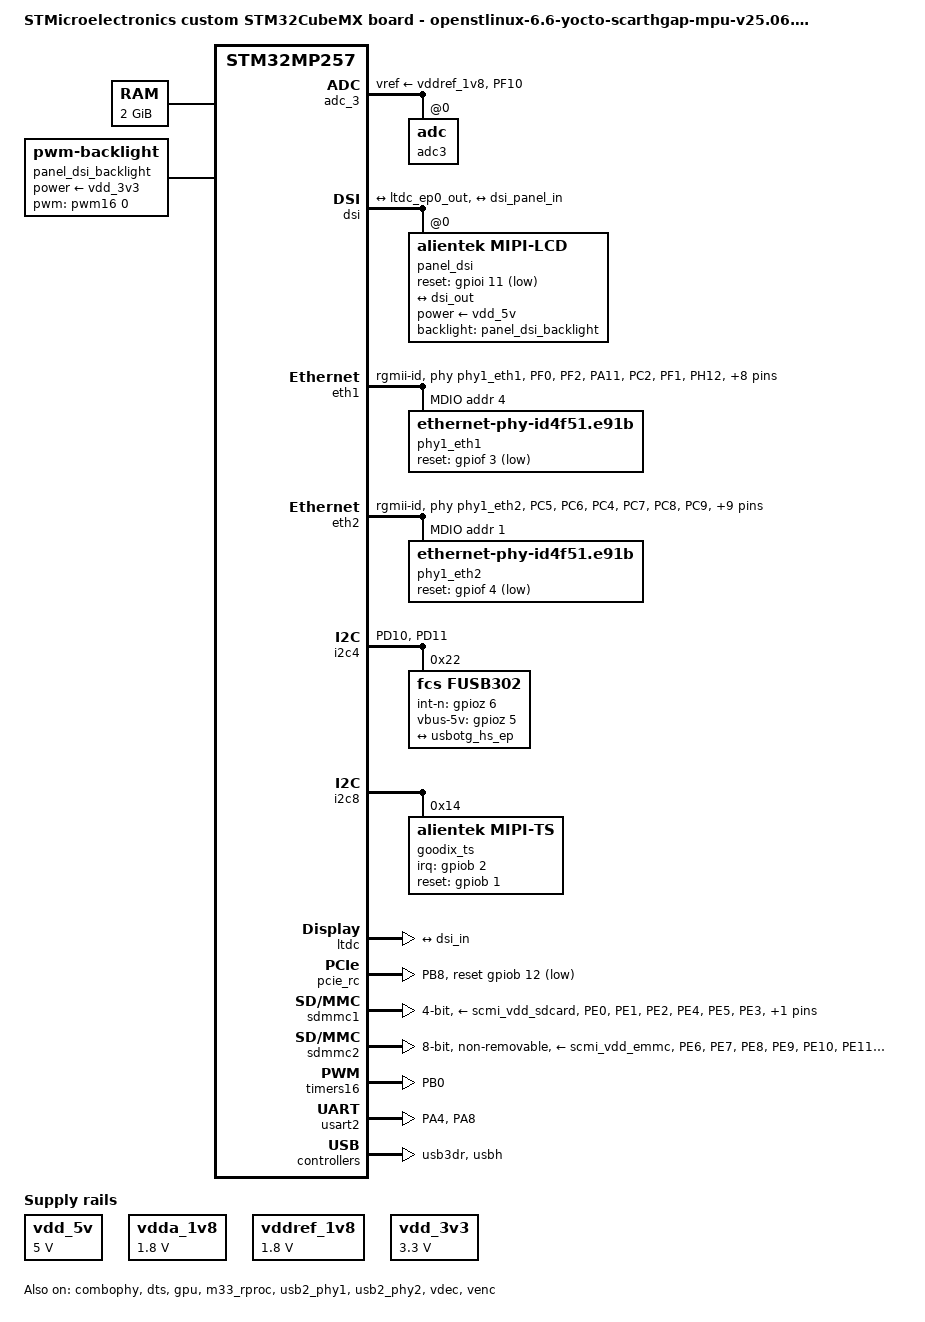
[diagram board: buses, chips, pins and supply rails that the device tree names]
// SPDX-License-Identifier: (GPL-2.0-only OR BSD-3-Clause)
/*
 * Copyright (C) 2026, STMicroelectronics - All Rights Reserved
 * Author: STM32CubeMX code generation for STMicroelectronics.
 */

/* For more information on Device Tree configuration, please refer to
 * https://wiki.st.com/stm32mpu/wiki/Category:Device_tree_configuration
 */

/dts-v1/;

#include <dt-bindings/pinctrl/stm32-pinfunc.h>
#include "stm32mp257.dtsi"
#include "stm32mp257d-stm32mp257dak3-mx-resmem.dtsi"
#include "stm32mp25xxak-pinctrl.dtsi"

/* USER CODE BEGIN includes */
#include <dt-bindings/gpio/gpio.h>
#include <dt-bindings/usb/pd.h>
#include "stm32mp25-pinctrl.dtsi"
/* USER CODE END includes */

/ {
	model = "STMicroelectronics custom STM32CubeMX board - openstlinux-6.6-yocto-scarthgap-mpu-v25.06.11";
	compatible = "st,stm32mp257d-stm32mp257dak3-mx", "st,stm32mp257";

	memory@80000000 {
		device_type = "memory";
		reg = <0x0 0x80000000 0x0 0x80000000>;

		/* USER CODE BEGIN memory */
		/* USER CODE END memory */
	};

	/* USER CODE BEGIN root */
	aliases{
		ethernet0 = &eth2;
		ethernet1 = &eth1;
		serial0 = &usart2;
	};
	
	chosen{
		stdout-path = "serial0:115200n8";
		#address-cells = <2>;
		#size-cells = <2>;
		ranges;
	};

	config_adc_mipi_dsi_lcd_id {
		st,adc_mipi_dsi_lcd_id = <&adc3 2>;
	};
	
/*
	dsi_lcd_id select id:
		atk_no_mipi = 1,
		atk_mipi_dsi_5x5_720x1280 = 2,
		atk_mipi_dsi_5x5_1080x1920 = 3,
		atk_mipi_dsi_10x1_800x1280 = 4,
*/
	dsi_lcd_id {
        dsi_select_id = <2>;
    };

	rgb_lcd_id_pinctrl {
		gpior = <&gpiog 7 	GPIO_ACTIVE_LOW>;	//LCD_R7
		gpiog = <&gpiog 13 	GPIO_ACTIVE_LOW>;	//LCD_G7
		gpiob = <&gpioi 4 	GPIO_ACTIVE_LOW>;	//LCD_B7
	};


        vdd_5v: regulator-vdd-5v {
                compatible = "regulator-fixed";
                regulator-name = "vdd_5v";
                regulator-min-microvolt = <5000000>;
                regulator-max-microvolt = <5000000>;
                regulator-always-on;
                regulator-boot-on;
        };
	
	vdda_1v8: regulator-vdda-1v8 {
			compatible = "regulator-fixed";
			regulator-name = "vdda_1v8";
			regulator-min-microvolt = <1800000>;
			regulator-max-microvolt = <1800000>;
			regulator-always-on;
			regulator-boot-on;
	};

	vddref_1v8: regulator-vddref-1v8 {
			compatible = "regulator-fixed";
			regulator-name = "vddref_1v8";
			regulator-min-microvolt = <1800000>;
			regulator-max-microvolt = <1800000>;
			regulator-always-on;
			regulator-boot-on;
	};
	
	vdd_3v3: regulator-vdd-3v3 {
		compatible = "regulator-fixed";
		regulator-name = "vdd_3v3";
		regulator-min-microvolt = <3300000>;
		regulator-max-microvolt = <3300000>;
		regulator-always-on;
		regulator-boot-on;
	};

	panel_dsi_backlight: panel-dsi-backlight {
        compatible = "pwm-backlight";
        pwms = <&pwm16 0 5000000 0>;
		brightness-levels = <
                     0   1   2   3   4   5   6   7	 8   9
					10  11  12  13  14  15  16  17  18  19
					20  21  22  23  24  25  26  27  28  29
					30  31  32  33  34  35  36  37  38  39
                    40  41  42  43  44  45  46  47  48  49
					50  51  52  53  54  55  56  57  58  59
					60  61  62  63  64  65  66  67  68  69
					70  71  72  73  74  75  76  77  78  79
                    80  81  82  83  84  85  86  87  88  89
					90  91  92  93  94  95  96  97  98  99
					100 101 102 103 104 105 106 107 108 109
					110 111 112 113 114 115 116 117 118 119
                    120 121 122 123 124 125 126 127 128 129
					130 131 132 133 134 135 136 137 138 139
					140 141 142 143 144 145 146 147 148 149
					150 151 152 153 154 155 156 157 158 159
                    160 161 162 163 164 165 166 167 168 169
					170 171 172 173 174 175 176 177 178 179
					180 181 182 183 184 185 186 187 188 189
					190 191 192 193 194 195 196 197 198 199
                    200 201 202 203 204 205 206 207 208 209
					210 211 212 213 214 215 216 217 218 219
					220 221 222 223 224 225 226 227 228 229
					230 231 232 233 234 235 236 237 238 239
                    240 241 242 243 244 245 246 247 248 249
					250 251 252 253 254 255>;
        power-supply = <&vdd_3v3>;
        default-brightness-level = <255>;
        status = "okay";
	};
	/* USER CODE END root */

	clocks{

		/* USER CODE BEGIN clocks */
		pad_clk: pad-clk {
			#clock-cells = <0>;
			compatible = "fixed-clock";
			clock-frequency = <100000000>;
		};
		/* USER CODE END clocks */
	};

}; /*root*/

&pinctrl {

	adc3_pins_mx: adc3_mx-0 {
		pins {
			pinmux = <STM32_PINMUX('F', 10, ANALOG)>; /* ADC3_INP2 */
		};
	};

	adc3_sleep_pins_mx: adc3_sleep_mx-0 {
		pins {
			pinmux = <STM32_PINMUX('F', 10, ANALOG)>; /* ADC3_INP2 */
		};
	};

	eth1_mdio_pins_mx: eth1_mdio_mx-0 {
		pins1 {
			pinmux = <STM32_PINMUX('F', 0, AF10)>; /* ETH1_MDC */
			bias-disable;
			drive-push-pull;
			slew-rate = <2>;
			st,io-clk-edge = <0>;
			st,io-retime = <0>;
			st,io-delay-path = <0>;
			st,io-delay = <0>;
		};
		pins2 {
			pinmux = <STM32_PINMUX('F', 2, AF10)>; /* ETH1_MDIO */
			bias-disable;
			drive-push-pull;
			slew-rate = <0>;
			st,io-clk-edge = <0>;
			st,io-retime = <0>;
			st,io-delay-path = <0>;
			st,io-delay = <0>;
		};
	};

	eth1_mdio_sleep_pins_mx: eth1_mdio_sleep_mx-0 {
		pins {
			pinmux = <STM32_PINMUX('F', 0, ANALOG)>, /* ETH1_MDC */
					 <STM32_PINMUX('F', 2, ANALOG)>; /* ETH1_MDIO */
		};
	};

	eth1_rgmii_pins_mx: eth1_rgmii_mx-0 {
		pins1 {
			pinmux = <STM32_PINMUX('A', 11, AF10)>, /* ETH1_RGMII_RX_CTL */
					 <STM32_PINMUX('C', 2, AF10)>, /* ETH1_RGMII_RXD1 */
					 <STM32_PINMUX('F', 1, AF10)>, /* ETH1_RGMII_RXD0 */
					 <STM32_PINMUX('H', 12, AF10)>, /* ETH1_RGMII_RXD2 */
					 <STM32_PINMUX('H', 13, AF10)>; /* ETH1_RGMII_RXD3 */
			bias-disable;
			drive-push-pull;
			st,io-clk-edge = <1>;
			st,io-retime = <1>;
			st,io-delay-path = <0>;
			st,io-delay = <0>;
		};
		pins2 {
			pinmux = <STM32_PINMUX('A', 13, AF10)>, /* ETH1_RGMII_TX_CTL */
					 <STM32_PINMUX('A', 15, AF10)>, /* ETH1_RGMII_TXD0 */
					 <STM32_PINMUX('C', 1, AF10)>, /* ETH1_RGMII_TXD1 */
					 <STM32_PINMUX('H', 10, AF10)>, /* ETH1_RGMII_TXD2 */
					 <STM32_PINMUX('H', 11, AF10)>; /* ETH1_RGMII_TXD3 */
			bias-disable;
			drive-push-pull;
			slew-rate = <2>;
			st,io-clk-edge = <1>;
			st,io-retime = <1>;
			st,io-delay-path = <0>;
			st,io-delay = <0>;
		};
		pins3 {
			pinmux = <STM32_PINMUX('A', 14, AF10)>; /* ETH1_RGMII_RX_CLK */
			bias-disable;
			drive-push-pull;
			slew-rate = <0>;
			st,io-clk-edge = <0>;
			st,io-retime = <0>;
			st,io-delay-path = <0>;
			st,io-delay = <0>;
		};
		pins4 {
			pinmux = <STM32_PINMUX('C', 0, AF12)>; /* ETH1_RGMII_GTX_CLK */
			bias-disable;
			drive-push-pull;
			slew-rate = <1>;
			st,io-clk-edge = <0>;
			st,io-retime = <0>;
			st,io-delay-path = <0>;
			st,io-delay = <0>;
		};
	};

	eth1_rgmii_sleep_pins_mx: eth1_rgmii_sleep_mx-0 {
		pins {
			pinmux = <STM32_PINMUX('A', 11, ANALOG)>, /* ETH1_RGMII_RX_CTL */
					 <STM32_PINMUX('A', 13, ANALOG)>, /* ETH1_RGMII_TX_CTL */
					 <STM32_PINMUX('A', 14, ANALOG)>, /* ETH1_RGMII_RX_CLK */
					 <STM32_PINMUX('A', 15, ANALOG)>, /* ETH1_RGMII_TXD0 */
					 <STM32_PINMUX('C', 0, ANALOG)>, /* ETH1_RGMII_GTX_CLK */
					 <STM32_PINMUX('C', 1, ANALOG)>, /* ETH1_RGMII_TXD1 */
					 <STM32_PINMUX('C', 2, ANALOG)>, /* ETH1_RGMII_RXD1 */
					 <STM32_PINMUX('F', 1, ANALOG)>, /* ETH1_RGMII_RXD0 */
					 <STM32_PINMUX('H', 10, ANALOG)>, /* ETH1_RGMII_TXD2 */
					 <STM32_PINMUX('H', 11, ANALOG)>, /* ETH1_RGMII_TXD3 */
					 <STM32_PINMUX('H', 12, ANALOG)>, /* ETH1_RGMII_RXD2 */
					 <STM32_PINMUX('H', 13, ANALOG)>; /* ETH1_RGMII_RXD3 */
		};
	};

	eth2_mdio_pins_mx: eth2_mdio_mx-0 {
		pins1 {
			pinmux = <STM32_PINMUX('C', 5, AF10)>; /* ETH2_MDIO */
			bias-disable;
			drive-push-pull;
			slew-rate = <0>;
			st,io-clk-edge = <0>;
			st,io-retime = <0>;
			st,io-delay-path = <0>;
			st,io-delay = <0>;
		};
		pins2 {
			pinmux = <STM32_PINMUX('C', 6, AF10)>; /* ETH2_MDC */
			bias-disable;
			drive-push-pull;
			slew-rate = <2>;
			st,io-clk-edge = <0>;
			st,io-retime = <0>;
			st,io-delay-path = <0>;
			st,io-delay = <0>;
		};
	};

	eth2_mdio_sleep_pins_mx: eth2_mdio_sleep_mx-0 {
		pins {
			pinmux = <STM32_PINMUX('C', 5, ANALOG)>, /* ETH2_MDIO */
					 <STM32_PINMUX('C', 6, ANALOG)>; /* ETH2_MDC */
		};
	};

	eth2_rgmii_pins_mx: eth2_rgmii_mx-0 {
		pins1 {
			pinmux = <STM32_PINMUX('C', 4, AF10)>, /* ETH2_RGMII_TX_CTL */
					 <STM32_PINMUX('C', 7, AF10)>, /* ETH2_RGMII_TXD0 */
					 <STM32_PINMUX('C', 8, AF10)>, /* ETH2_RGMII_TXD1 */
					 <STM32_PINMUX('C', 9, AF10)>, /* ETH2_RGMII_TXD2 */
					 <STM32_PINMUX('C', 10, AF10)>; /* ETH2_RGMII_TXD3 */
			bias-disable;
			drive-push-pull;
			slew-rate = <2>;
			st,io-clk-edge = <1>;
			st,io-retime = <1>;
			st,io-delay-path = <0>;
			st,io-delay = <0>;
		};
		pins2 {
			pinmux = <STM32_PINMUX('C', 3, AF10)>, /* ETH2_RGMII_RX_CTL */
					 <STM32_PINMUX('C', 11, AF10)>, /* ETH2_RGMII_RXD3 */
					 <STM32_PINMUX('C', 12, AF10)>, /* ETH2_RGMII_RXD1 */
					 <STM32_PINMUX('F', 9, AF10)>, /* ETH2_RGMII_RXD2 */
					 <STM32_PINMUX('G', 0, AF10)>; /* ETH2_RGMII_RXD0 */
			bias-disable;
			drive-push-pull;
			st,io-clk-edge = <1>;
			st,io-retime = <1>;
			st,io-delay-path = <0>;
			st,io-delay = <0>;
		};
		pins3 {
			pinmux = <STM32_PINMUX('F', 6, AF10)>; /* ETH2_RGMII_RX_CLK */
			bias-disable;
			drive-push-pull;
			slew-rate = <0>;
			st,io-clk-edge = <0>;
			st,io-retime = <0>;
			st,io-delay-path = <0>;
			st,io-delay = <0>;
		};
		pins4 {
			pinmux = <STM32_PINMUX('F', 7, AF10)>; /* ETH2_RGMII_GTX_CLK */
			bias-disable;
			drive-push-pull;
			slew-rate = <1>;
			st,io-clk-edge = <0>;
			st,io-retime = <0>;
			st,io-delay-path = <0>;
			st,io-delay = <0>;
		};
		pins5 {
			pinmux = <STM32_PINMUX('F', 8, AF10)>; /* ETH2_RGMII_CLK125 */
			bias-disable;
			drive-push-pull;
			slew-rate = <2>;
		};
	};

	eth2_rgmii_sleep_pins_mx: eth2_rgmii_sleep_mx-0 {
		pins {
			pinmux = <STM32_PINMUX('C', 3, ANALOG)>, /* ETH2_RGMII_RX_CTL */
					 <STM32_PINMUX('C', 4, ANALOG)>, /* ETH2_RGMII_TX_CTL */
					 <STM32_PINMUX('C', 7, ANALOG)>, /* ETH2_RGMII_TXD0 */
					 <STM32_PINMUX('C', 8, ANALOG)>, /* ETH2_RGMII_TXD1 */
					 <STM32_PINMUX('C', 9, ANALOG)>, /* ETH2_RGMII_TXD2 */
					 <STM32_PINMUX('C', 10, ANALOG)>, /* ETH2_RGMII_TXD3 */
					 <STM32_PINMUX('C', 11, ANALOG)>, /* ETH2_RGMII_RXD3 */
					 <STM32_PINMUX('C', 12, ANALOG)>, /* ETH2_RGMII_RXD1 */
					 <STM32_PINMUX('F', 6, ANALOG)>, /* ETH2_RGMII_RX_CLK */
					 <STM32_PINMUX('F', 7, ANALOG)>, /* ETH2_RGMII_GTX_CLK */
					 <STM32_PINMUX('F', 8, ANALOG)>, /* ETH2_RGMII_CLK125 */
					 <STM32_PINMUX('F', 9, ANALOG)>, /* ETH2_RGMII_RXD2 */
					 <STM32_PINMUX('G', 0, ANALOG)>; /* ETH2_RGMII_RXD0 */
		};
	};

	i2c4_pins_mx: i2c4_mx-0 {
		pins {
			pinmux = <STM32_PINMUX('D', 10, AF6)>, /* I2C4_SDA */
					 <STM32_PINMUX('D', 11, AF6)>; /* I2C4_SCL */
			bias-disable;
			drive-open-drain;
			slew-rate = <0>;
		};
	};

	i2c4_sleep_pins_mx: i2c4_sleep_mx-0 {
		pins {
			pinmux = <STM32_PINMUX('D', 10, ANALOG)>, /* I2C4_SDA */
					 <STM32_PINMUX('D', 11, ANALOG)>; /* I2C4_SCL */
		};
	};

	pcie_pins_mx: pcie_mx-0 {
		pins {
			pinmux = <STM32_PINMUX('B', 8, AF4)>; /* PCIE_CLKREQN */
			bias-disable;
			drive-push-pull;
			slew-rate = <0>;
		};
	};

	pcie_init_pins_mx: pcie_init_mx-0 {
		pins {
			pinmux = <STM32_PINMUX('B', 8, ANALOG)>; /* PCIE_CLKREQN */
		};
	};

	pcie_sleep_pins_mx: pcie_sleep_mx-0 {
		pins {
			pinmux = <STM32_PINMUX('B', 8, ANALOG)>; /* PCIE_CLKREQN */
		};
	};

	sdmmc1_pins_mx: sdmmc1_mx-0 {
		pins1 {
			pinmux = <STM32_PINMUX('E', 0, AF10)>, /* SDMMC1_D2 */
					 <STM32_PINMUX('E', 1, AF10)>, /* SDMMC1_D3 */
					 <STM32_PINMUX('E', 2, AF10)>, /* SDMMC1_CMD */
					 <STM32_PINMUX('E', 4, AF10)>, /* SDMMC1_D0 */
					 <STM32_PINMUX('E', 5, AF10)>; /* SDMMC1_D1 */
			bias-disable;
			drive-push-pull;
			slew-rate = <1>;
		};
		pins2 {
			pinmux = <STM32_PINMUX('E', 3, AF10)>; /* SDMMC1_CK */
			bias-disable;
			drive-push-pull;
			slew-rate = <3>;
		};
	};

	sdmmc1_opendrain_pins_mx: sdmmc1_opendrain_mx-0 {
		pins1 {
			pinmux = <STM32_PINMUX('E', 0, AF10)>, /* SDMMC1_D2 */
					 <STM32_PINMUX('E', 1, AF10)>, /* SDMMC1_D3 */
					 <STM32_PINMUX('E', 4, AF10)>, /* SDMMC1_D0 */
					 <STM32_PINMUX('E', 5, AF10)>; /* SDMMC1_D1 */
			bias-disable;
			drive-push-pull;
			slew-rate = <1>;
		};
		pins2 {
			pinmux = <STM32_PINMUX('E', 2, AF10)>; /* SDMMC1_CMD */
			bias-disable;
			drive-open-drain;
			slew-rate = <1>;
		};
		pins3 {
			pinmux = <STM32_PINMUX('E', 3, AF10)>; /* SDMMC1_CK */
			bias-disable;
			drive-push-pull;
			slew-rate = <3>;
		};
	};

	sdmmc1_sleep_pins_mx: sdmmc1_sleep_mx-0 {
		pins {
			pinmux = <STM32_PINMUX('E', 0, ANALOG)>, /* SDMMC1_D2 */
					 <STM32_PINMUX('E', 1, ANALOG)>, /* SDMMC1_D3 */
					 <STM32_PINMUX('E', 2, ANALOG)>, /* SDMMC1_CMD */
					 <STM32_PINMUX('E', 3, ANALOG)>, /* SDMMC1_CK */
					 <STM32_PINMUX('E', 4, ANALOG)>, /* SDMMC1_D0 */
					 <STM32_PINMUX('E', 5, ANALOG)>; /* SDMMC1_D1 */
		};
	};

	sdmmc2_pins_mx: sdmmc2_mx-0 {
		pins1 {
			pinmux = <STM32_PINMUX('E', 6, AF12)>, /* SDMMC2_D6 */
					 <STM32_PINMUX('E', 7, AF12)>, /* SDMMC2_D7 */
					 <STM32_PINMUX('E', 8, AF12)>, /* SDMMC2_D2 */
					 <STM32_PINMUX('E', 9, AF12)>, /* SDMMC2_D5 */
					 <STM32_PINMUX('E', 10, AF12)>, /* SDMMC2_D4 */
					 <STM32_PINMUX('E', 11, AF12)>, /* SDMMC2_D1 */
					 <STM32_PINMUX('E', 12, AF12)>, /* SDMMC2_D3 */
					 <STM32_PINMUX('E', 13, AF12)>, /* SDMMC2_D0 */
					 <STM32_PINMUX('E', 15, AF12)>; /* SDMMC2_CMD */
			bias-disable;
			drive-push-pull;
			slew-rate = <1>;
		};
		pins2 {
			pinmux = <STM32_PINMUX('E', 14, AF12)>; /* SDMMC2_CK */
			bias-disable;
			drive-push-pull;
			slew-rate = <3>;
		};
	};

	sdmmc2_opendrain_pins_mx: sdmmc2_opendrain_mx-0 {
		pins1 {
			pinmux = <STM32_PINMUX('E', 6, AF12)>, /* SDMMC2_D6 */
					 <STM32_PINMUX('E', 7, AF12)>, /* SDMMC2_D7 */
					 <STM32_PINMUX('E', 8, AF12)>, /* SDMMC2_D2 */
					 <STM32_PINMUX('E', 9, AF12)>, /* SDMMC2_D5 */
					 <STM32_PINMUX('E', 10, AF12)>, /* SDMMC2_D4 */
					 <STM32_PINMUX('E', 11, AF12)>, /* SDMMC2_D1 */
					 <STM32_PINMUX('E', 12, AF12)>, /* SDMMC2_D3 */
					 <STM32_PINMUX('E', 13, AF12)>; /* SDMMC2_D0 */
			bias-disable;
			drive-push-pull;
			slew-rate = <1>;
		};
		pins2 {
			pinmux = <STM32_PINMUX('E', 14, AF12)>; /* SDMMC2_CK */
			bias-disable;
			drive-push-pull;
			slew-rate = <3>;
		};
		pins3 {
			pinmux = <STM32_PINMUX('E', 15, AF12)>; /* SDMMC2_CMD */
			bias-disable;
			drive-open-drain;
			slew-rate = <1>;
		};
	};

	sdmmc2_sleep_pins_mx: sdmmc2_sleep_mx-0 {
		pins {
			pinmux = <STM32_PINMUX('E', 6, ANALOG)>, /* SDMMC2_D6 */
					 <STM32_PINMUX('E', 7, ANALOG)>, /* SDMMC2_D7 */
					 <STM32_PINMUX('E', 8, ANALOG)>, /* SDMMC2_D2 */
					 <STM32_PINMUX('E', 9, ANALOG)>, /* SDMMC2_D5 */
					 <STM32_PINMUX('E', 10, ANALOG)>, /* SDMMC2_D4 */
					 <STM32_PINMUX('E', 11, ANALOG)>, /* SDMMC2_D1 */
					 <STM32_PINMUX('E', 12, ANALOG)>, /* SDMMC2_D3 */
					 <STM32_PINMUX('E', 13, ANALOG)>, /* SDMMC2_D0 */
					 <STM32_PINMUX('E', 14, ANALOG)>, /* SDMMC2_CK */
					 <STM32_PINMUX('E', 15, ANALOG)>; /* SDMMC2_CMD */
		};
	};

	tim16_pwm_pins_mx: tim16_pwm_mx-0 {
		pins {
			pinmux = <STM32_PINMUX('B', 0, AF7)>; /* TIM16_CH1 */
			bias-disable;
			drive-push-pull;
			slew-rate = <0>;
		};
	};

	tim16_pwm_sleep_pins_mx: tim16_pwm_sleep_mx-0 {
		pins {
			pinmux = <STM32_PINMUX('B', 0, ANALOG)>; /* TIM16_CH1 */
		};
	};

	usart2_pins_mx: usart2_mx-0 {
		pins1 {
			pinmux = <STM32_PINMUX('A', 4, AF6)>; /* USART2_TX */
			bias-disable;
			drive-push-pull;
			slew-rate = <0>;
		};
		pins2 {
			pinmux = <STM32_PINMUX('A', 8, AF8)>; /* USART2_RX */
			bias-disable;
			drive-push-pull;
		};
	};

	usart2_idle_pins_mx: usart2_idle_mx-0 {
		pins1 {
			pinmux = <STM32_PINMUX('A', 4, ANALOG)>; /* USART2_TX */
		};
		pins2 {
			pinmux = <STM32_PINMUX('A', 8, AF8)>; /* USART2_RX */
			bias-disable;
			drive-push-pull;
		};
	};

	usart2_sleep_pins_mx: usart2_sleep_mx-0 {
		pins {
			pinmux = <STM32_PINMUX('A', 4, ANALOG)>, /* USART2_TX */
					 <STM32_PINMUX('A', 8, ANALOG)>; /* USART2_RX */
		};
	};

	/* USER CODE BEGIN pinctrl */
	/* USER CODE END pinctrl */
};

&pinctrl_z {

	i2c8_pins_z_mx: i2c8_mx-0 {
		pins {
			pinmux = <STM32_PINMUX('Z', 4, AF8)>, /* I2C8_SCL */
					 <STM32_PINMUX('Z', 9, AF8)>; /* I2C8_SDA */
			bias-disable;
			drive-open-drain;
			slew-rate = <0>;
		};
	};

	i2c8_sleep_pins_z_mx: i2c8_sleep_mx-0 {
		pins {
			pinmux = <STM32_PINMUX('Z', 4, ANALOG)>, /* I2C8_SCL */
					 <STM32_PINMUX('Z', 9, ANALOG)>; /* I2C8_SDA */
		};
	};

	/* USER CODE BEGIN pinctrl_z */
	/* USER CODE END pinctrl_z */
};

&adc_3 {
	pinctrl-names = "default", "sleep";
	pinctrl-0 = <&adc3_pins_mx>;
	pinctrl-1 = <&adc3_sleep_pins_mx>;
	status = "okay";

	/* USER CODE BEGIN adc_3 */
	vdda-supply = <&vdda_1v8>;
	vref-supply = <&vddref_1v8>;

	adc3: adc@0 {
		#address-cells = <1>;
		#size-cells = <0>;
		status = "okay";

		channel@2 {
			reg = <2>;               			/* ADC3 in2 channel is used */
			st,min-sample-time-ns = <10000>;  	/* 10us sampling time */
		};
	};
	/* USER CODE END adc_3 */
};

&combophy {
	status = "okay";

	/* USER CODE BEGIN combophy */
	clocks = <&rcc CK_BUS_USB3PCIEPHY>, <&rcc CK_KER_USB3PCIEPHY>, <&pad_clk>;
	clock-names = "apb-clk", "ker-clk", "pad-clk";
	st,rx_equalizer = <1>;
	/* USER CODE END combophy */
};

&dsi {
	status = "okay";

	/* USER CODE BEGIN dsi */
	vdd-supply = <&scmi_vddcore>;
	vdda18-supply = <&scmi_v1v8>;
	#address-cells = <1>;
	#size-cells = <0>;

	ports {
		#address-cells = <1>;
		#size-cells = <0>;

		port@0 {
			reg = <0>;
			dsi_in: endpoint {
			};
		};

		port@1 {
			reg = <1>;
			dsi_out: endpoint {
			};
		};
	};

	panel_dsi: panel@0 {
		compatible = "alientek,mipi-lcd";
		reg = <0>;
		dsi-lanes = <4>;
		reset-gpio = <&gpioi 11 GPIO_ACTIVE_LOW>;
		power-supply = <&vdd_5v>;
		backlight = <&panel_dsi_backlight>;
		status = "okay";

		port {
			dsi_panel_in: endpoint {
				remote-endpoint = <&dsi_out>;
			};
		};
	};
	/* USER CODE END dsi */
};

&dts {
	status = "okay";

	/* USER CODE BEGIN dts */
	/* USER CODE END dts */
};

&eth1 {
	pinctrl-names = "default", "sleep";
	pinctrl-0 = <&eth1_mdio_pins_mx>, <&eth1_rgmii_pins_mx>;
	pinctrl-1 = <&eth1_mdio_sleep_pins_mx>, <&eth1_rgmii_sleep_pins_mx>;
	status = "okay";

	/* USER CODE BEGIN eth1 */
	phy-mode = "rgmii-id";
	phy-handle = <&phy1_eth1>;
	st,eth-clk-sel;

	mdio1 {
		#address-cells = <1>;
		#size-cells = <0>;
		compatible = "snps,dwmac-mdio";
		phy1_eth1: ethernet-phy@4 {
 			compatible = "ethernet-phy-id4f51.e91b";
			reset-gpios =  <&gpiof 3 GPIO_ACTIVE_LOW>;
			reset-assert-us = <10000>;
			reset-deassert-us = <80000>;
			realtek,eee-disable;
			reg = <4>;
		};
	};
	/* USER CODE END eth1 */
};

&eth2 {
	pinctrl-names = "default", "sleep";
	pinctrl-0 = <&eth2_mdio_pins_mx>, <&eth2_rgmii_pins_mx>;
	pinctrl-1 = <&eth2_mdio_sleep_pins_mx>, <&eth2_rgmii_sleep_pins_mx>;
	status = "okay";

	/* USER CODE BEGIN eth2 */
	phy-mode = "rgmii-id";
	max-speed = <1000>;
	phy-handle = <&phy1_eth2>;
	st,eth-ptp-from-rcc;

	mdio1 {
		#address-cells = <1>;
		#size-cells = <0>;
		compatible = "snps,dwmac-mdio";
		phy1_eth2: ethernet-phy@1 {
			compatible = "ethernet-phy-id4f51.e91b";
			reset-gpios =  <&gpiof 4 GPIO_ACTIVE_LOW>;
			reset-assert-us = <10000>;
			reset-deassert-us = <80000>;
			realtek,eee-disable;
			reg = <1>;
		};
	};
	/* USER CODE END eth2 */
};

&gpu {
	status = "okay";

	/* USER CODE BEGIN gpu */
	/* USER CODE END gpu */
};

&hpdma {
	status = "okay";

	/* USER CODE BEGIN hpdma */
	/* USER CODE END hpdma */
};

&hpdma2 {
	status = "okay";

	/* USER CODE BEGIN hpdma2 */
	/* USER CODE END hpdma2 */
};

&hpdma3 {
	status = "okay";

	/* USER CODE BEGIN hpdma3 */
	/* USER CODE END hpdma3 */
};

&i2c4 {
	pinctrl-names = "default", "sleep";
	pinctrl-0 = <&i2c4_pins_mx>;
	pinctrl-1 = <&i2c4_sleep_pins_mx>;
	status = "okay";

	/* USER CODE BEGIN i2c4 */
	/delete-property/dmas;
	/delete-property/dma-names;

	fusb302@22 {
		compatible = "fcs,fusb302","fairchild,fusb302";
		reg = <0x22>;
		int-n-gpios = <&gpioz 6 GPIO_ACTIVE_HIGH>;
		vbus-5v-gpios = <&gpioz 5 GPIO_ACTIVE_HIGH>;
		status = "okay";

		connector {
			compatible = "usb-c-connector";
			label = "USB-C";
			power-role = "dual";
			power-opmode = "default";
			try-power-role = "sink";
			source-pdos = <PDO_FIXED(5000, 3000, PDO_FIXED_USB_COMM)>;
			sink-pdos = <PDO_FIXED(5000, 3000, PDO_FIXED_USB_COMM)
			PDO_VAR(3000, 12000, 3000)
			PDO_PPS_APDO(3000, 11000, 3000)>;
			op-sink-microwatt = <10000000>;
			
			port {
				con_usbotg_hs_ep: endpoint {
				remote-endpoint = <&usbotg_hs_ep>;
				};
			};
		};
	};
	/* USER CODE END i2c4 */
};

&i2c8 {
	pinctrl-names = "default", "sleep";
	pinctrl-0 = <&i2c8_pins_z_mx>;
	pinctrl-1 = <&i2c8_sleep_pins_z_mx>;
	status = "okay";

	/* USER CODE BEGIN i2c8 */
	/delete-property/dmas;
	/delete-property/dma-names;	

    	goodix_ts@14 {
		compatible = "alientek,mipi-ts";
		reg = <0x14>;
		interrupt-parent = <&gpiob>;
		interrupts = <2 IRQ_TYPE_EDGE_RISING>;
		irq-gpios = <&gpiob 2 GPIO_ACTIVE_HIGH>;
		reset-gpios = <&gpiob 1 GPIO_ACTIVE_HIGH>;
		status = "okay";
	};
	/* USER CODE END i2c8 */
};

&ltdc {
	status = "okay";

	/* USER CODE BEGIN ltdc */
	rotation-memory = <&ltdc_sec_rotation>;

	port {
		#address-cells = <1>;
		#size-cells = <0>;

		ltdc_ep0_out: endpoint@0 {
			reg = <0>;
			remote-endpoint = <&dsi_in>;
		};
	};
	/* USER CODE END ltdc */
};

&m33_rproc {
	status = "okay";

	/* USER CODE BEGIN m33_rproc */
	/* USER CODE END m33_rproc */
};

&pcie_rc {
	pinctrl-names = "default", "init", "sleep";
	pinctrl-0 = <&pcie_pins_mx>;
	pinctrl-1 = <&pcie_init_pins_mx>;
	pinctrl-2 = <&pcie_sleep_pins_mx>;
	status = "okay";

	/* USER CODE BEGIN pcie_rc */
	reset-gpios = <&gpiob 12 GPIO_ACTIVE_LOW>;
	/* USER CODE END pcie_rc */
};

&sdmmc1 {
	pinctrl-names = "default", "opendrain", "sleep";
	pinctrl-0 = <&sdmmc1_pins_mx>;
	pinctrl-1 = <&sdmmc1_opendrain_pins_mx>;
	pinctrl-2 = <&sdmmc1_sleep_pins_mx>;
	status = "okay";

	/* USER CODE BEGIN sdmmc1 */
	cd-gpios = <&gpioi 8 (GPIO_ACTIVE_LOW | GPIO_PULL_UP)>;
	disable-wp;
	st,neg-edge;
	bus-width = <4>;
	vmmc-supply = <&scmi_vdd_sdcard>;
	vqmmc-supply = <&scmi_vddio1>;
	sd-uhs-sdr12;
	sd-uhs-sdr25;
	sd-uhs-sdr50;
	sd-uhs-ddr50;
	/* USER CODE END sdmmc1 */
};

&sdmmc2 {
	pinctrl-names = "default", "opendrain", "sleep";
	pinctrl-0 = <&sdmmc2_pins_mx>;
	pinctrl-1 = <&sdmmc2_opendrain_pins_mx>;
	pinctrl-2 = <&sdmmc2_sleep_pins_mx>;
	status = "okay";

	/* USER CODE BEGIN sdmmc2 */
	non-removable;
	no-sd;
	no-sdio;
	st,neg-edge;
	bus-width = <8>;
	vmmc-supply = <&scmi_vdd_emmc>;
	vqmmc-supply = <&scmi_vddio2>;
	mmc-ddr-1_8v;
	/* USER CODE END sdmmc2 */
};

&timers16 {
	pinctrl-names = "default", "sleep";
	pinctrl-0 = <&tim16_pwm_pins_mx>;
	pinctrl-1 = <&tim16_pwm_sleep_pins_mx>;
	status = "okay";

	/* USER CODE BEGIN timers16 */
	/delete-property/dmas;
	/delete-property/dma-names;
	pwm16: pwm {
		#pwm-cells = <2>;
		status = "okay";
	};
	/* USER CODE END timers16 */
};

&usart2 {
	pinctrl-names = "default", "idle", "sleep";
	pinctrl-0 = <&usart2_pins_mx>;
	pinctrl-1 = <&usart2_idle_pins_mx>;
	pinctrl-2 = <&usart2_sleep_pins_mx>;
	status = "okay";

	/* USER CODE BEGIN usart2 */
	/delete-property/ dmas;
	/delete-property/ dma-names;
	/* USER CODE END usart2 */
};

&usb2_phy1 {
	status = "okay";

	/* USER CODE BEGIN usb2_phy1 */
	vdd33-supply = <&scmi_vdd3v3_usb>;
	/* USER CODE END usb2_phy1 */
};

&usb2_phy2 {
	status = "okay";

	/* USER CODE BEGIN usb2_phy2 */
	vdd33-supply = <&scmi_vdd3v3_usb>;
	/* USER CODE END usb2_phy2 */
};

&usb3dr {
	status = "okay";

	/* USER CODE BEGIN usb3dr */
	dwc3: usb@48300000 {
		maximum-speed = "high-speed";
        	usb-role-switch;

		port {
			usbotg_hs_ep: endpoint {
				remote-endpoint = <&con_usbotg_hs_ep>;
			};
		};
	};
	/* USER CODE END usb3dr */
};

&usbh {
	status = "okay";

	/* USER CODE BEGIN usbh */
	usbh_ehci: usb@482f0000 {
		#address-cells = <1>;
		#size-cells = <0>;
	};

	usbh_ohci: usb@482e0000 {
		status = "disabled";
	};
	/* USER CODE END usbh */
};

&vdec {
	status = "okay";

	/* USER CODE BEGIN vdec */
	/* USER CODE END vdec */
};

&venc {
	status = "okay";

	/* USER CODE BEGIN venc */
	/* USER CODE END venc */
};

/* USER CODE BEGIN addons */
&scmi_regu {
	scmi_vddio1: regulator@0 {
		regulator-min-microvolt = <1800000>;
		regulator-max-microvolt = <3300000>;
	};
	scmi_vddcore: regulator@11  {
		reg = <VOLTD_SCMI_STPMIC2_BUCK2>;
		regulator-name = "vddcore";
	};
	scmi_v1v8: regulator@14  {
		reg = <VOLTD_SCMI_STPMIC2_BUCK5>;
		regulator-name = "v1v8";
	};
	scmi_v3v3: regulator@16 {
		reg = <VOLTD_SCMI_STPMIC2_BUCK7>;
		regulator-name = "v3v3";
	};
	scmi_vdd_emmc: regulator@18 {
		reg = <VOLTD_SCMI_STPMIC2_LDO2>;
		regulator-name = "vdd_emmc";
	};
	scmi_vdd3v3_usb: regulator@20 {
		reg = <VOLTD_SCMI_STPMIC2_LDO4>;
		regulator-name = "vdd3v3_usb";
	};
	scmi_vdd_sdcard: regulator@23 {
		reg = <VOLTD_SCMI_STPMIC2_LDO7>;
		regulator-name = "vdd_sdcard";
	};
};

&switch0 {
	status = "disabled";
	pinctrl-0 = <&eth1_rgmii_pins_mx>, <&eth3_rgmii_pins_a>;
	pinctrl-1 = <&eth1_rgmii_sleep_pins_mx>, <&eth3_rgmii_sleep_pins_a>;
	pinctrl-names = "default", "sleep";
	phy-mode = "rgmii";
	st,ethsw-internal-125;
};

&hpdma {
	memory-region = <&hpdma1_lli>;
};

&hpdma2 {
	memory-region = <&hpdma2_lli>;
};

&hpdma3 {
	memory-region = <&hpdma3_lli>;
};

&dsi_in {
	remote-endpoint = <&ltdc_ep0_out>;
};

&dsi_out {
	remote-endpoint = <&dsi_panel_in>;
};

&pcie_ep {
	pinctrl-names = "default", "init";
	pinctrl-0 = <&pcie_pins_mx>;
	pinctrl-1 = <&pcie_init_pins_mx>;
	reset-gpios = <&gpiob 12 GPIO_ACTIVE_LOW>;
	status = "disabled";
};
/* USER CODE END addons */

